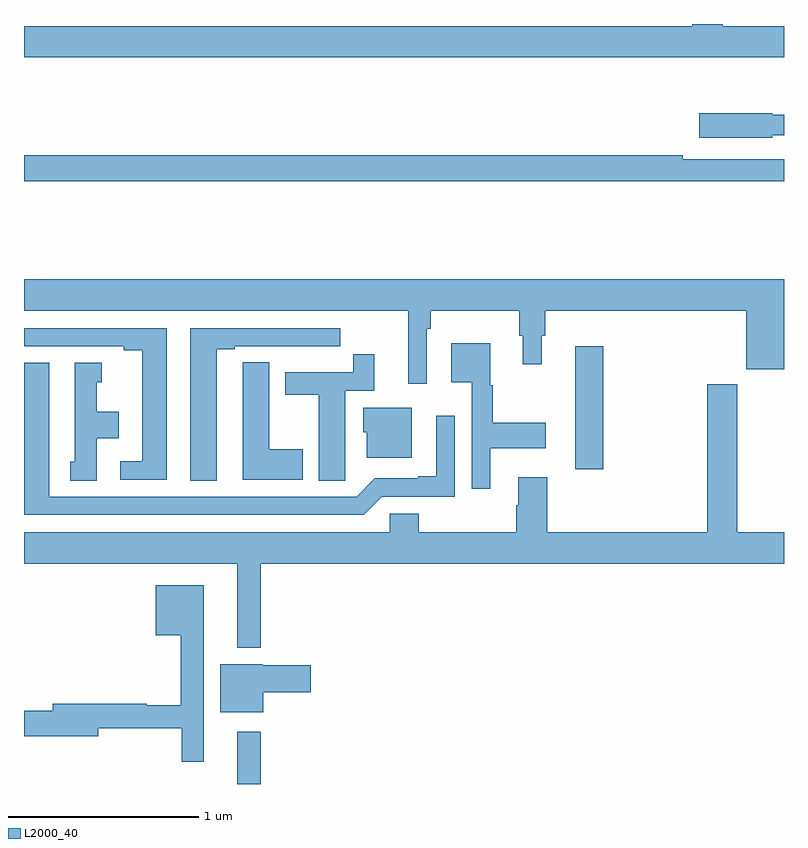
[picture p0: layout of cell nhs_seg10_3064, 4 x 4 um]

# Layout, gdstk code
import gdstk
lib = gdstk.Library(unit=1e-6, precision=1e-09)
def R(c, l, rs):  # rectangles x0, y0, x1, y1
    for r in rs: c.add(gdstk.rectangle(r[:2], r[2:], *l))
def P(c, l, *ps):  # polygons
    for p in ps: c.add(gdstk.Polygon(p, *l))
L2000_40 = (2000, 40)

nhs_seg10_3064 = lib.new_cell('nhs_seg10_3064')
R(nhs_seg10_3064, L2000_40, [(278.123,1288.5,278.245,1288.774), (279.902,1290.156,280.049,1290.805)])
P(nhs_seg10_3064, L2000_40, [(281,1292.488),(280.677,1292.488),(280.677,1292.5),(280.517,1292.5),(280.517,1292.488),(277,1292.488),(277,1292.324),(281,1292.324)],
  [(280.938,1291.914),(281,1291.914),(281,1292.023),(280.938,1292.023),(280.938,1292.031),(280.554,1292.031),(280.554,1291.901),(280.938,1291.901)],
  [(281,1291.788),(280.466,1291.788),(280.466,1291.808),(277,1291.808),(277,1291.672),(281,1291.672)],
  [(277,1290.992),(279.023,1290.992),(279.023,1290.606),(279.12,1290.606),(279.12,1290.896),(279.14,1290.896),(279.14,1290.992),(279.607,1290.992),(279.607,1290.858),(279.626,1290.858),(279.626,1290.708),(279.724,1290.708),(279.724,1290.858),(279.743,1290.858),(279.743,1290.992),(280.802,1290.992),(280.802,1290.683),(281,1290.683),(281,1291.156),(277,1291.156)],
  [(278.014,1290.789),(278.11,1290.789),(278.11,1290.804),(278.386,1290.804),(278.386,1290.803),(278.552,1290.803),(278.552,1290.804),(278.665,1290.804),(278.665,1290.9),(277.874,1290.9),(277.874,1290.097),(278.014,1290.097)],
  [(277.75,1290.9),(277,1290.9),(277,1290.804),(277.526,1290.804),(277.526,1290.784),(277.622,1290.784),(277.622,1290.198),(277.506,1290.198),(277.506,1290.102),(277.75,1290.102)],
  [(279.454,1290.266),(279.745,1290.266),(279.745,1290.401),(279.466,1290.401),(279.466,1290.6),(279.454,1290.6),(279.454,1290.82),(279.248,1290.82),(279.248,1290.614),(279.357,1290.614),(279.357,1290.054),(279.454,1290.054)],
  [(278.691,1290.208),(278.692,1290.208),(278.692,1290.57),(278.843,1290.57),(278.843,1290.763),(278.734,1290.763),(278.734,1290.666),(278.375,1290.666),(278.375,1290.55),(278.552,1290.55),(278.552,1290.097),(278.691,1290.097)],
  [(278.467,1290.261),(278.29,1290.261),(278.29,1290.719),(278.151,1290.719),(278.151,1290.611),(278.15,1290.611),(278.15,1290.101),(278.467,1290.101)],
  [(277.384,1290.32),(277.498,1290.32),(277.498,1290.46),(277.384,1290.46),(277.384,1290.615),(277.408,1290.615),(277.408,1290.718),(277.268,1290.718),(277.268,1290.195),(277.244,1290.195),(277.244,1290.097),(277.384,1290.097)],
  [(278.883,1290.012),(279.267,1290.012),(279.267,1290.439),(279.17,1290.439),(279.17,1290.121),(279.074,1290.121),(279.074,1290.108),(278.847,1290.108),(278.751,1290.012),(277.132,1290.012),(277.132,1290.718),(277,1290.718),(277,1289.916),(278.787,1289.916)],
  [(279.04,1290.481),(278.786,1290.481),(278.786,1290.351),(278.804,1290.351),(278.804,1290.218),(279.04,1290.218)],
  [(280.595,1290.604),(280.595,1289.824),(279.755,1289.824),(279.755,1290.115),(279.602,1290.115),(279.602,1289.966),(279.59,1289.966),(279.59,1289.824),(279.077,1289.824),(279.077,1289.922),(278.925,1289.922),(278.925,1289.824),(277,1289.824),(277,1289.66),(278.123,1289.66),(278.123,1289.216),(278.245,1289.216),(278.245,1289.66),(281,1289.66),(281,1289.824),(280.755,1289.824),(280.755,1290.604)],
  [(277.945,1289.545),(277.694,1289.545),(277.694,1289.282),(277.824,1289.282),(277.824,1288.915),(277.645,1288.915),(277.645,1288.922),(277.151,1288.922),(277.151,1288.886),(277.002,1288.886),(277.002,1288.751),(277.39,1288.751),(277.39,1288.794),(277.831,1288.794),(277.831,1288.617),(277.945,1288.617)],
  [(278.26,1288.984),(278.509,1288.984),(278.509,1289.126),(278.256,1289.126),(278.256,1289.131),(278.033,1289.131),(278.033,1288.877),(278.26,1288.877)])

lib.write_gds('nhs_seg10_3064.gds')
